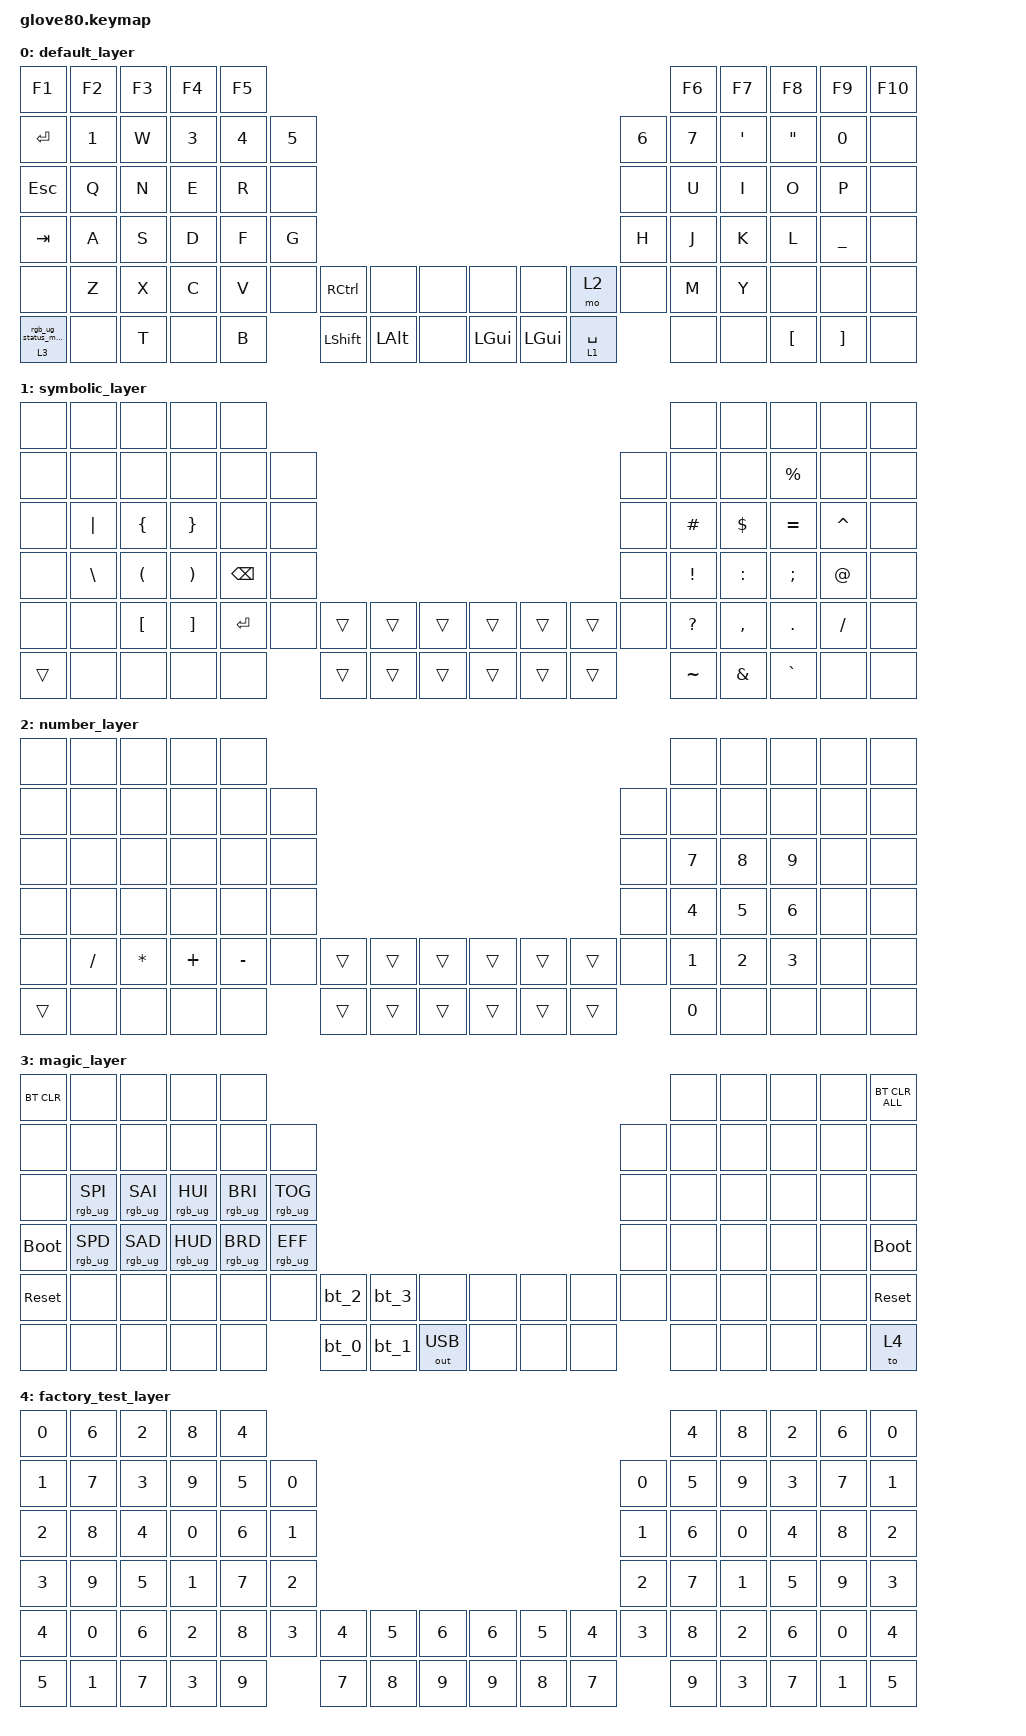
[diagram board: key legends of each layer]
/*
 * Copyright (c) 2020 The ZMK Contributors
 *
 * SPDX-License-Identifier: MIT
 */

#include <behaviors.dtsi>
#include <dt-bindings/zmk/bt.h>
#include <dt-bindings/zmk/keys.h>
#include <dt-bindings/zmk/outputs.h>
#include <dt-bindings/zmk/rgb.h>

#define HYPER LC(LS(LG(LALT)))

// layers

#define DEFAULT 0
#define SYMBOLIC 1
#define NUMBER 2
#define MAGIC 3
#define FACTORY_TEST 4

/ {
    behaviors {
        magic: magic_hold_tap {
            compatible = "zmk,behavior-hold-tap";
            label = "MAGIC_HOLD_TAP";
            #binding-cells = <2>;
            flavor = "tap-preferred";
            tapping-term-ms = <200>;
            bindings = <&mo>, <&rgb_ug_status_macro>;
        };
    };

    macros {
        rgb_ug_status_macro: rgb_ug_status_macro_0 {
            label = "RGB_UG_STATUS";
            compatible = "zmk,behavior-macro";
            #binding-cells = <0>;
            bindings = <&rgb_ug RGB_STATUS>;
        };

        bt_0: bt_profile_macro_0 {
            label = "BT_0";
            compatible = "zmk,behavior-macro";
            #binding-cells = <0>;
            bindings = <&out OUT_BLE &bt BT_SEL 0>;
        };

        bt_1: bt_profile_macro_1 {
            label = "BT_1";
            compatible = "zmk,behavior-macro";
            #binding-cells = <0>;
            bindings = <&out OUT_BLE &bt BT_SEL 1>;
        };

        bt_2: bt_profile_macro_2 {
            label = "BT_2";
            compatible = "zmk,behavior-macro";
            #binding-cells = <0>;
            bindings = <&out OUT_BLE &bt BT_SEL 2>;
        };

        bt_3: bt_profile_macro_3 {
            label = "BT_3";
            compatible = "zmk,behavior-macro";
            #binding-cells = <0>;
            bindings = <&out OUT_BLE &bt BT_SEL 3>;
        };
    };

    keymap {
        compatible = "zmk,keymap";

        // demo layer
        // demo_layer {
        //     bindings = <
        //     &none  &none &none &none &none                                                       &none &none &none &none &none
        //     &none  &none &none &none &none &none                                           &none &none &none &none &none &none
        //     &none  &none &none &none &none &none                                           &none &none &none &none &none &none
        //     &none  &none &none &none &none &none                                           &none &none &none &none &none &none
        //     &none  &none &none &none &none &none &trans &trans &trans &trans &trans &trans &none &none &none &none &none &none
        //     &trans &none &none &none &none       &trans &trans &trans &trans &trans &trans       &none &none &none &none &none
        //     >;
        // };

        default_layer {
            bindings = <
&kp F1      &kp F2  &kp F3  &kp F4  &kp F5                                                                                       &kp F6  &kp F7            &kp F8             &kp F9          &kp F10
&kp ENTER   &kp N1  &kp W   &kp N3  &kp N4  &kp N5                                                                       &kp N6  &kp N7  &kp SINGLE_QUOTE  &kp DOUBLE_QUOTES  &kp N0          &none
&kp ESC     &kp Q   &kp N   &kp E   &kp R   &none                                                                        &none   &kp U   &kp I             &kp O              &kp P           &none
&kp TAB     &kp A   &kp S   &kp D   &kp F   &kp G                                                                        &kp H   &kp J   &kp K             &kp L              &kp UNDERSCORE  &none
&none       &kp Z   &kp X   &kp C   &kp V   &none   &kp RCTRL  &none         &none  &none     &none         &mo 2        &none   &kp M   &kp Y             &none              &none           &none
&magic 3 0  &none   &kp T   &none   &kp B           &kp LSHFT  &kp LEFT_ALT  &none  &kp LGUI  &kp LEFT_GUI  &lt 1 SPACE          &none   &none             &kp LBKT           &kp RBKT        &none
            >;
        };

        symbolic_layer {
            bindings = <
&none   &none     &none             &none              &none                                                                        &none            &none       &none        &none        &none
&none   &none     &none             &none              &none          &none                                                  &none  &none            &none       &kp PERCENT  &none        &none
&none   &kp PIPE  &kp LEFT_BRACE    &kp RIGHT_BRACE    &none          &none                                                  &none  &kp POUND        &kp DOLLAR  &kp EQUAL    &kp CARET    &none
&none   &kp BSLH  &kp LPAR          &kp RPAR           &kp BACKSPACE  &none                                                  &none  &kp EXCLAMATION  &kp COLON   &kp SEMI     &kp AT_SIGN  &none
&none   &none     &kp LEFT_BRACKET  &kp RIGHT_BRACKET  &kp ENTER      &none  &trans  &trans  &trans  &trans  &trans  &trans  &none  &kp QUESTION     &kp COMMA   &kp PERIOD   &kp FSLH     &none
&trans  &none     &none             &none              &none                 &trans  &trans  &trans  &trans  &trans  &trans         &kp TILDE        &kp AMPS    &kp GRAVE    &none        &none
            >;
        };

        number_layer {
            bindings = <
&none   &none     &none     &none     &none                                                                    &none         &none         &none         &none  &none
&none   &none     &none     &none     &none      &none                                                  &none  &none         &none         &none         &none  &none
&none   &none     &none     &none     &none      &none                                                  &none  &kp N7        &kp N8        &kp N9        &none  &none
&none   &none     &none     &none     &none      &none                                                  &none  &kp NUMBER_4  &kp N5        &kp NUMBER_6  &none  &none
&none   &kp FSLH  &kp STAR  &kp PLUS  &kp MINUS  &none  &trans  &trans  &trans  &trans  &trans  &trans  &none  &kp NUMBER_1  &kp NUMBER_2  &kp NUMBER_3  &none  &none
&trans  &none     &none     &none     &none             &trans  &trans  &trans  &trans  &trans  &trans         &kp N0        &none         &none         &none  &none
            >;
        };

        magic_layer {
            bindings = <
&bt BT_CLR   &none            &none            &none            &none                                                                                     &none  &none  &none  &none  &bt BT_CLR_ALL
&none        &none            &none            &none            &none            &none                                                             &none  &none  &none  &none  &none  &none
&none        &rgb_ug RGB_SPI  &rgb_ug RGB_SAI  &rgb_ug RGB_HUI  &rgb_ug RGB_BRI  &rgb_ug RGB_TOG                                                   &none  &none  &none  &none  &none  &none
&bootloader  &rgb_ug RGB_SPD  &rgb_ug RGB_SAD  &rgb_ug RGB_HUD  &rgb_ug RGB_BRD  &rgb_ug RGB_EFF                                                   &none  &none  &none  &none  &none  &bootloader
&sys_reset   &none            &none            &none            &none            &none            &bt_2  &bt_3  &none         &none  &none  &none  &none  &none  &none  &none  &none  &sys_reset
&none        &none            &none            &none            &none                             &bt_0  &bt_1  &out OUT_USB  &none  &none  &none         &none  &none  &none  &none  &to 4
            >;
        };

        factory_test_layer {
            bindings = <
&kp N0  &kp N6  &kp N2  &kp N8  &kp N4                                                                  &kp N4  &kp N8  &kp N2  &kp N6  &kp N0
&kp N1  &kp N7  &kp N3  &kp N9  &kp N5  &kp N0                                                  &kp N0  &kp N5  &kp N9  &kp N3  &kp N7  &kp N1
&kp N2  &kp N8  &kp N4  &kp N0  &kp N6  &kp N1                                                  &kp N1  &kp N6  &kp N0  &kp N4  &kp N8  &kp N2
&kp N3  &kp N9  &kp N5  &kp N1  &kp N7  &kp N2                                                  &kp N2  &kp N7  &kp N1  &kp N5  &kp N9  &kp N3
&kp N4  &kp N0  &kp N6  &kp N2  &kp N8  &kp N3  &kp N4  &kp N5  &kp N6  &kp N6  &kp N5  &kp N4  &kp N3  &kp N8  &kp N2  &kp N6  &kp N0  &kp N4
&kp N5  &kp N1  &kp N7  &kp N3  &kp N9          &kp N7  &kp N8  &kp N9  &kp N9  &kp N8  &kp N7          &kp N9  &kp N3  &kp N7  &kp N1  &kp N5
            >;
        };
    };
};
